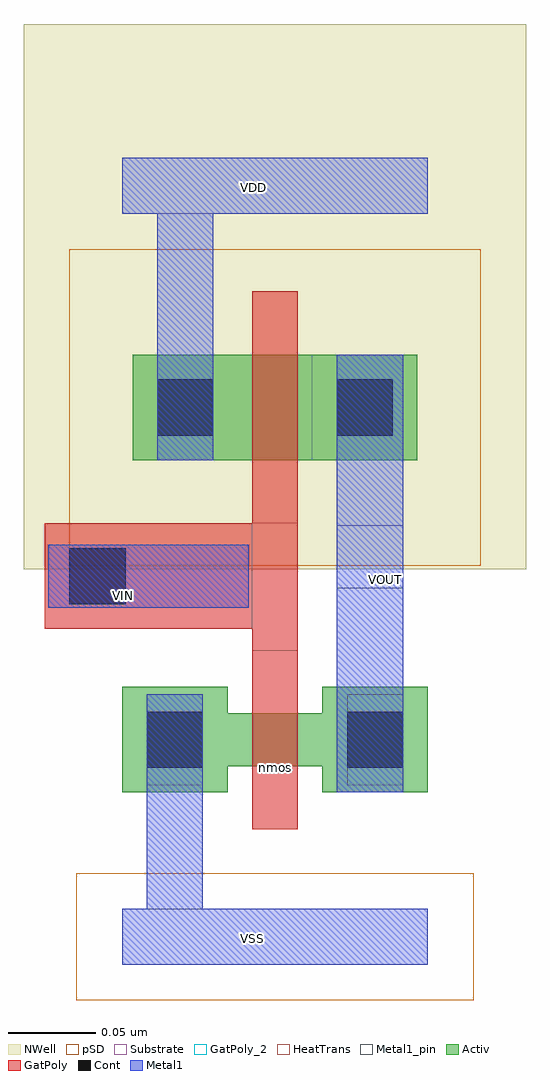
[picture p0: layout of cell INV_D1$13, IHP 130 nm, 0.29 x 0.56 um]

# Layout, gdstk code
import gdstk
lib = gdstk.Library(unit=1e-6, precision=1e-09)
def R(c, l, rs):  # rectangles x0, y0, x1, y1
    for r in rs: c.add(gdstk.rectangle(r[:2], r[2:], *l))
Activ = (1, 0)
GatPoly = (5, 0)
GatPoly_2 = (5, 2)
Cont = (6, 0)
Metal1 = (8, 0)
Metal1_pin = (8, 2)
pSD = (14, 0)
NWell = (31, 0)
Substrate = (40, 0)
HeatTrans = (51, 0)

nmos_1_9 = lib.new_cell('nmos$1$9')
R(nmos_1_9, Activ, [(0,-0.005,0.06,0.055), (0.114,-0.005,0.174,0.055), (0,0.01,0.174,0.04)])
R(nmos_1_9, GatPoly, [(0.074,-0.026,0.1,0.076)])
R(nmos_1_9, GatPoly_2, [(0.074,-0.026,0.1,0.076)])
R(nmos_1_9, Cont, [(0.014,0.009,0.046,0.041), (0.128,0.009,0.16,0.041)])
R(nmos_1_9, Metal1, [(0.014,-0.001,0.046,0.051), (0.128,-0.001,0.16,0.051)])
R(nmos_1_9, Metal1_pin, [(0.014,-0.001,0.046,0.051), (0.128,-0.001,0.16,0.051)])
R(nmos_1_9, HeatTrans, [(0.074,-0.026,0.1,0.076)])
nmos_1_9.add(gdstk.Label('nmos', (0.087,0.025), layer=63, texttype=0))
nmos_1_9.add(gdstk.Label('nmos', (0.087,0.025), layer=51, texttype=0))

pmos_1_13 = lib.new_cell('pmos$1$13')
R(pmos_1_13, Activ, [(0,0,0.06,0.06), (0,0,0.162,0.06), (0.102,0,0.162,0.06)])
R(pmos_1_13, GatPoly, [(0.068,-0.036,0.094,0.096), (0.068,-0.036,0.094,0.096)])
R(pmos_1_13, Cont, [(0.014,0.014,0.046,0.046), (0.116,0.014,0.148,0.046)])
R(pmos_1_13, Metal1, [(0.014,0,0.046,0.06), (0.014,0,0.046,0.06), (0.116,0,0.148,0.06), (0.116,0,0.148,0.06)])
R(pmos_1_13, pSD, [(-0.036,-0.06,0.198,0.12)])
R(pmos_1_13, NWell, [(-0.062,-0.062,0.224,0.122)])
R(pmos_1_13, Substrate, [(0.102,0,0.162,0.06)])
R(pmos_1_13, HeatTrans, [(0.068,-0.036,0.094,0.096)])
pmos_1_13.add(gdstk.Label('pmos', (0.081,0.03), layer=63, texttype=0))
pmos_1_13.add(gdstk.Label('pmos', (0.081,0.03), layer=51, texttype=0))

inv_d1_13 = lib.new_cell('INV_D1$13')
R(inv_d1_13, GatPoly, [(0.012,0.205,0.13,0.265), (0.13,0.222,0.156,0.265)])
R(inv_d1_13, GatPoly_2, [(0.012,0.205,0.13,0.265)])
R(inv_d1_13, Cont, [(0.026,0.219,0.058,0.251)])
R(inv_d1_13, Metal1, [(0.056,0.014,0.23,0.046), (0.014,0.217,0.128,0.253), (0.056,0.441,0.23,0.473)])
R(inv_d1_13, Metal1_pin, [(0.056,0.014,0.23,0.046), (0.014,0.217,0.128,0.253), (0.178,0.228,0.216,0.264), (0.056,0.441,0.23,0.473)])
R(inv_d1_13, pSD, [(0.03,-0.006,0.256,0.066)])
R(inv_d1_13, NWell, [(0,0.423,0.286,0.549)])
R(inv_d1_13, Substrate, [(0.164,0.301,0.224,0.361)])
inv_d1_13.add(gdstk.FlexPath([(0.197,0.112),(0.197,0.361)], 0.038, ends="flush", simple_path=True, layer=8, datatype=0))  # Metal1
inv_d1_13.add(gdstk.FlexPath([(0.086,0.168),(0.086,0.046)], 0.032, ends="flush", simple_path=True, layer=8, datatype=0))  # Metal1
inv_d1_13.add(gdstk.FlexPath([(0.092,0.361),(0.092,0.473)], 0.032, ends="flush", simple_path=True, layer=8, datatype=0))  # Metal1
inv_d1_13.add(gdstk.FlexPath([(0.143,0.222),(0.143,0.193)], 0.026, ends="flush", simple_path=True, layer=5, datatype=0))  # GatPoly
inv_d1_13.add(gdstk.Reference(nmos_1_9, (0.056,0.117)))
inv_d1_13.add(gdstk.Reference(pmos_1_13, (0.062,0.301)))
inv_d1_13.add(gdstk.Label('nmos', (0.143,0.126), layer=63, texttype=0))
inv_d1_13.add(gdstk.Label('VIN', (0.057,0.224), layer=8, texttype=25))
inv_d1_13.add(gdstk.Label('VSS', (0.13,0.029), layer=8, texttype=25))
inv_d1_13.add(gdstk.Label('VOUT', (0.206,0.233), layer=8, texttype=25))
inv_d1_13.add(gdstk.Label('VDD', (0.131,0.456), layer=8, texttype=25))

lib.write_gds('INV_D1_13.gds')
